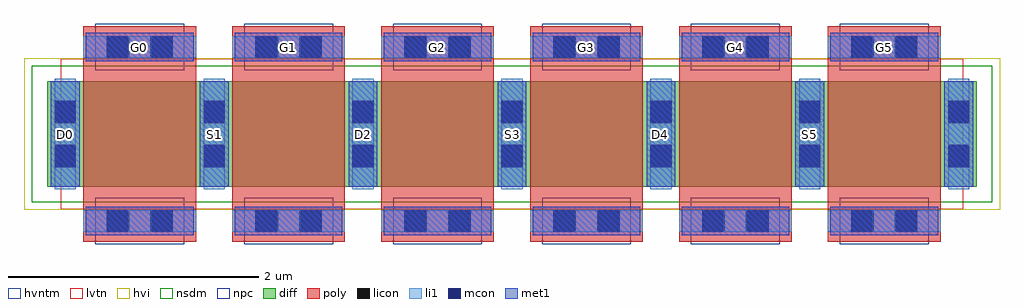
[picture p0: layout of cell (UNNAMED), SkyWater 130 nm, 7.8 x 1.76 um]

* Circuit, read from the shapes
.subckt (UNNAMED) D0 D2 D4 G0 G1 G2 G3 G4 G5 S1 S3 S5
XM1 S1 G0 D0 VSUBS sky130_fd_pr__nfet_05v0_nvt w=0.84 l=0.9
XM2 D2 G1 S1 VSUBS sky130_fd_pr__nfet_05v0_nvt w=0.84 l=0.9
XM3 S3 G2 D2 VSUBS sky130_fd_pr__nfet_05v0_nvt w=0.84 l=0.9
XM4 D4 G3 S3 VSUBS sky130_fd_pr__nfet_05v0_nvt w=0.84 l=0.9
XM5 S5 G4 D4 VSUBS sky130_fd_pr__nfet_05v0_nvt w=0.84 l=0.9
XM6 n1 G5 S5 VSUBS sky130_fd_pr__nfet_05v0_nvt w=0.84 l=0.9
.ends

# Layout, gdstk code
import gdstk
lib = gdstk.Library(unit=1e-6, precision=1e-09)
def R(c, l, rs):  # rectangles x0, y0, x1, y1
    for r in rs: c.add(gdstk.rectangle(r[:2], r[2:], *l))
def A(c, l, x, y, w, h, nx, ny, dx, dy):  # array of equal rectangles
    R(c, l, [(x+i*dx, y+j*dy, x+i*dx+w, y+j*dy+h) for i in range(nx) for j in range(ny)])
diff = (65, 20)
poly = (66, 20)
licon = (66, 44)
li1 = (67, 20)
mcon = (67, 44)
met1 = (68, 20)
hvi = (75, 20)
nsdm = (93, 44)
npc = (95, 20)
hvntm = (125, 20)
lvtn = (125, 44)

c__unnamed_ = lib.new_cell('(UNNAMED)')
R(c__unnamed_, diff, [(-3.715,-0.42,3.715,0.42)])
A(c__unnamed_, poly, -3.425, -0.86, 0.9, 1.72, 6, 1, 1.19, 0)
A(c__unnamed_, licon, -3.655, -0.255, 0.17, 0.17, 7, 2, 1.19, 0.34)
R(c__unnamed_, licon, [(-3.23,-0.78,-3.06,-0.61), (-2.89,-0.78,-2.72,-0.61), (-2.04,-0.78,-1.87,-0.61), (-1.7,-0.78,-1.53,-0.61), (-0.85,-0.78,-0.68,-0.61), (-0.51,-0.78,-0.34,-0.61), (0.34,-0.78,0.51,-0.61), (0.68,-0.78,0.85,-0.61), (1.53,-0.78,1.7,-0.61), (1.87,-0.78,2.04,-0.61), (2.72,-0.78,2.89,-0.61), (3.06,-0.78,3.23,-0.61), (-3.23,0.61,-3.06,0.78), (-2.89,0.61,-2.72,0.78), (-2.04,0.61,-1.87,0.78), (-1.7,0.61,-1.53,0.78), (-0.85,0.61,-0.68,0.78), (-0.51,0.61,-0.34,0.78), (0.34,0.61,0.51,0.78), (0.68,0.61,0.85,0.78), (1.53,0.61,1.7,0.78), (1.87,0.61,2.04,0.78), (2.72,0.61,2.89,0.78), (3.06,0.61,3.23,0.78)])
A(c__unnamed_, li1, -3.425, -0.78, 0.9, 0.17, 6, 2, 1.19, 1.39)
A(c__unnamed_, li1, -3.655, -0.44, 0.17, 0.88, 7, 1, 1.19, 0)
A(c__unnamed_, mcon, -3.655, -0.265, 0.17, 0.17, 7, 2, 1.19, 0.36)
R(c__unnamed_, mcon, [(-3.24,-0.78,-3.07,-0.61), (-2.88,-0.78,-2.71,-0.61), (-2.05,-0.78,-1.88,-0.61), (-1.69,-0.78,-1.52,-0.61), (-0.86,-0.78,-0.69,-0.61), (-0.5,-0.78,-0.33,-0.61), (0.33,-0.78,0.5,-0.61), (0.69,-0.78,0.86,-0.61), (1.52,-0.78,1.69,-0.61), (1.88,-0.78,2.05,-0.61), (2.71,-0.78,2.88,-0.61), (3.07,-0.78,3.24,-0.61), (-3.24,0.61,-3.07,0.78), (-2.88,0.61,-2.71,0.78), (-2.05,0.61,-1.88,0.78), (-1.69,0.61,-1.52,0.78), (-0.86,0.61,-0.69,0.78), (-0.5,0.61,-0.33,0.78), (0.33,0.61,0.5,0.78), (0.69,0.61,0.86,0.78), (1.52,0.61,1.69,0.78), (1.88,0.61,2.05,0.78), (2.71,0.61,2.88,0.78), (3.07,0.61,3.24,0.78)])
A(c__unnamed_, met1, -3.405, -0.81, 0.86, 0.23, 6, 2, 1.19, 1.39)
A(c__unnamed_, met1, -3.685, -0.42, 0.23, 0.84, 7, 1, 1.19, 0)
R(c__unnamed_, hvi, [(-3.9,-0.605,3.9,0.605)])
R(c__unnamed_, nsdm, [(-3.84,-0.545,3.84,0.545)])
A(c__unnamed_, npc, -3.33, -0.88, 0.71, 0.37, 6, 2, 1.19, 1.39)
R(c__unnamed_, hvntm, [(-3.9,-0.605,3.9,0.605)])
R(c__unnamed_, lvtn, [(-3.605,-0.6,3.605,0.6)])
c__unnamed_.add(gdstk.Label('D0', (-3.57,0), layer=67, texttype=5))
c__unnamed_.add(gdstk.Label('G0', (-2.975,0.695), layer=67, texttype=5))
c__unnamed_.add(gdstk.Label('S1', (-2.38,0), layer=67, texttype=5))
c__unnamed_.add(gdstk.Label('G1', (-1.785,0.695), layer=67, texttype=5))
c__unnamed_.add(gdstk.Label('D2', (-1.19,0), layer=67, texttype=5))
c__unnamed_.add(gdstk.Label('G2', (-0.595,0.695), layer=67, texttype=5))
c__unnamed_.add(gdstk.Label('S3', (0,0), layer=67, texttype=5))
c__unnamed_.add(gdstk.Label('G3', (0.595,0.695), layer=67, texttype=5))
c__unnamed_.add(gdstk.Label('D4', (1.19,0), layer=67, texttype=5))
c__unnamed_.add(gdstk.Label('G4', (1.785,0.695), layer=67, texttype=5))
c__unnamed_.add(gdstk.Label('S5', (2.38,0), layer=67, texttype=5))
c__unnamed_.add(gdstk.Label('G5', (2.975,0.695), layer=67, texttype=5))

lib.write_gds('_UNNAMED_.gds')
